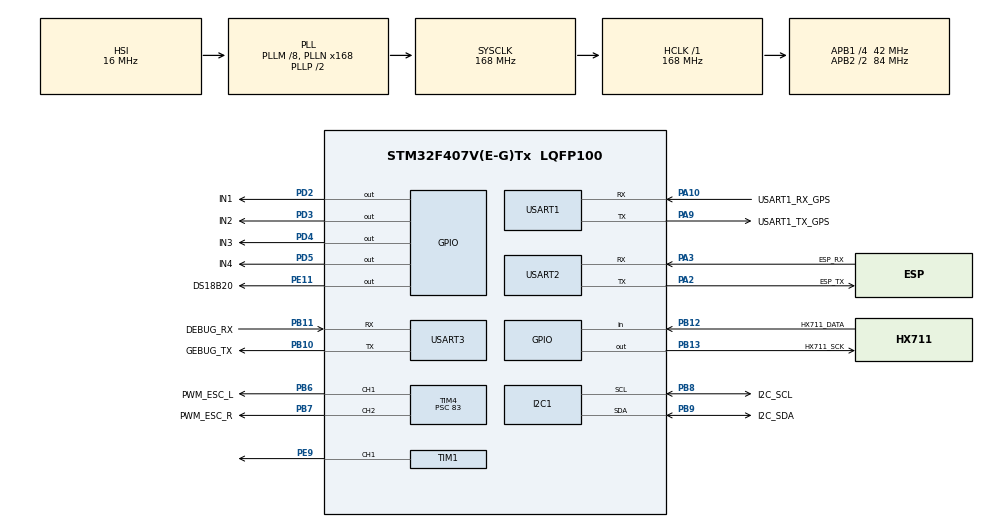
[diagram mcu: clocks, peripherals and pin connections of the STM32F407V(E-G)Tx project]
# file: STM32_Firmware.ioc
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I2C1.I2C_Mode=I2C_Fast
Mcu.Family=STM32F4
Mcu.Name=STM32F407V(E-G)Tx
Mcu.Package=LQFP100
NVIC.PriorityGroup=NVIC_PRIORITYGROUP_4
PA10.GPIO_Label=USART1_RX_GPS
PA10.Mode=Asynchronous
PA10.Signal=USART1_RX
PA13.Mode=Serial_Wire
PA13.Signal=SYS_JTMS-SWDIO
PA14.Mode=Serial_Wire
PA14.Signal=SYS_JTCK-SWCLK
PA2.GPIO_Label=ESP_TX
PA2.Mode=Asynchronous
PA2.Signal=USART2_TX
PA3.GPIO_Label=ESP_RX
PA3.Mode=Asynchronous
PA3.Signal=USART2_RX
PA9.GPIO_Label=USART1_TX_GPS
PA9.Mode=Asynchronous
PA9.Signal=USART1_TX
PB10.GPIO_Label=GEBUG_TX
PB10.Mode=Asynchronous
PB10.Signal=USART3_TX
PB11.GPIO_Label=DEBUG_RX
PB11.Mode=Asynchronous
PB11.Signal=USART3_RX
PB12.GPIO_Label=HX711_DATA
PB12.Signal=GPIO_Input
PB13.GPIO_Label=HX711_SCK
PB13.Signal=GPIO_Output
PB6.GPIO_Label=PWM_ESC_L
PB6.Signal=S_TIM4_CH1
PB7.GPIO_Label=PWM_ESC_R
PB7.Signal=S_TIM4_CH2
PB8.GPIO_Label=I2C_SCL
PB8.Mode=I2C
PB8.Signal=I2C1_SCL
PB9.GPIO_Label=I2C_SDA
PB9.Mode=I2C
PB9.Signal=I2C1_SDA
PD2.GPIO_Label=IN1
PD2.Signal=GPIO_Output
PD3.GPIO_Label=IN2
PD3.Signal=GPIO_Output
PD4.GPIO_Label=IN3
PD4.Signal=GPIO_Output
PD5.GPIO_Label=IN4
PD5.Signal=GPIO_Output
PE11.GPIO_Label=DS18B20
PE11.GPIO_ModeDefaultOutputPP=GPIO_MODE_OUTPUT_OD
PE11.GPIO_PuPd=GPIO_PULLUP
PE11.Signal=GPIO_Output
PE9.Signal=S_TIM1_CH1
PH0-OSC_IN.Mode=HSE-External-Oscillator
PH0-OSC_IN.Signal=RCC_OSC_IN
PH1-OSC_OUT.Mode=HSE-External-Oscillator
PH1-OSC_OUT.Signal=RCC_OSC_OUT
ProjectManager.HeapSize=0x200
ProjectManager.StackSize=0x400
ProjectManager.TargetToolchain=STM32CubeIDE
RCC.48MHZClocksFreq_Value=84000000
RCC.AHBFreq_Value=168000000
RCC.APB1CLKDivider=RCC_HCLK_DIV4
RCC.APB1Freq_Value=42000000
RCC.APB1TimFreq_Value=84000000
RCC.APB2CLKDivider=RCC_HCLK_DIV2
RCC.APB2Freq_Value=84000000
RCC.APB2TimFreq_Value=168000000
RCC.CortexFreq_Value=168000000
RCC.HCLKFreq_Value=168000000
RCC.HSE_VALUE=25000000
RCC.HSI_VALUE=16000000
RCC.LSE_VALUE=32768
RCC.PLLM=8
RCC.PLLN=168
RCC.SYSCLKFreq_VALUE=168000000
RCC.SYSCLKSource=RCC_SYSCLKSOURCE_PLLCLK
RCC.VCOOutputFreq_Value=336000000
SH.S_TIM1_CH1.0=TIM1_CH1,Output Compare1 CH1
SH.S_TIM4_CH1.0=TIM4_CH1,PWM Generation1 CH1
SH.S_TIM4_CH2.0=TIM4_CH2,PWM Generation2 CH2
TIM1.Channel-Output\ Compare1\ CH1=TIM_CHANNEL_1
TIM4.Channel-PWM\ Generation1\ CH1=TIM_CHANNEL_1
TIM4.Channel-PWM\ Generation2\ CH2=TIM_CHANNEL_2
TIM4.Period=19999
TIM4.Prescaler=83
USART1.VirtualMode=VM_ASYNC
USART2.VirtualMode=VM_ASYNC
USART3.VirtualMode=VM_ASYNC
VP_TIM1_VS_ClockSourceINT.Mode=Internal
VP_TIM4_VS_ClockSourceINT.Mode=Internal
board=custom

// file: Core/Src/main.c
/* USER CODE BEGIN Header */
/**
 ******************************************************************************
 * @file           : main.c
 * @brief          : Main program body
 ******************************************************************************
 */
/* USER CODE END Header */
#include "main.h"
#include "gpio.h"
#include "i2c.h"
#include "tim.h"
#include "usart.h"

/* USER CODE BEGIN Includes */
#include "ATGM336H/atgm336.h"
#include "DS18B20/ds18b20.h"
#include "INA219/ina219.h"
#include "MPU6050/mpu6050.h"
#include "QM5883P.h"
#include "esp32_comm.h"
#include "stepper.h"
#include <math.h>
#include <stdio.h>

/* USER CODE END Includes */

/* USER CODE BEGIN PV */
ATGM336H_Data_t gps_data;
uint8_t gps_rx_data;
/* USER CODE END PV */

void SystemClock_Config(void);
/* USER CODE BEGIN PFP */
void MPU6050_SendToUART(MPU6050_Data_t *data);
/* USER CODE END PFP */

int main(void) {

  /* MCU Configuration--------------------------------------------------------*/

  /* Reset of all peripherals, Initializes the Flash interface and the Systick.
   */
  HAL_Init();

  /* Configure the system clock */
  SystemClock_Config();

  /* Initialize all configured peripherals */
  MX_GPIO_Init();
  MX_I2C1_Init();
  MX_TIM1_Init();
  MX_TIM4_Init();
  MX_USART1_UART_Init();
  MX_USART3_UART_Init();
  MX_USART2_UART_Init();
  /* USER CODE BEGIN 2 */
  printf("Starting I2C Sensors...\r\n");

  if (MPU6050_Init() == HAL_OK) {
    printf("MPU6050 Init SUCCESS\r\n");
  } else {
    printf("MPU6050 Init FAILED\r\n");
  }

  if (QMC5883P_Init() == HAL_OK) {
    printf("QMC5883P Init SUCCESS\r\n");
  } else {
    printf("QMC5883P Init FAILED\r\n");
  }

  if (INA219_Init(&hi2c1) == HAL_OK) {
    printf("INA219 Init SUCCESS\r\n");
  } else {
    printf("INA219 Init FAILED\r\n");
  }

  DS18B20_Init();
  DS18B20_Request_Temp();

  extern void MX_Stepper_GPIO_Init(void);
  MX_Stepper_GPIO_Init();

  ATGM336H_Init(&gps_data);
  HAL_UART_Receive_IT(&huart1, &gps_rx_data, 1);
  ESP32Comm_Init(&huart2);

  /* USER CODE END 2 */

  /* Infinite loop */
  /* USER CODE BEGIN WHILE */
  uint32_t last_status_tick = 0;
  uint32_t last_temp_req = 0;
  uint32_t last_ina_req = 0;

  while (1) {
    /* USER CODE END WHILE */

    /* USER CODE BEGIN 3 */
    MPU6050_Data_t imu = {0};
    QMC5883P_Data_t mag = {0};

    MPU6050_ReadRaw(&imu);
    QMC5883P_ReadRaw(&mag);

    float heading = atan2f(mag.My, mag.Mx) * 180.0f / 3.14159265f;
    if (heading < 0.0f) {
      heading += 360.0f;
    }
    g_usv_state.heading = heading;

    if (HAL_GetTick() - last_temp_req >= 750) {
      last_temp_req = HAL_GetTick();
      g_usv_state.water_temp = DS18B20_Read_Temp();
      DS18B20_Request_Temp();
    }

    if (HAL_GetTick() - last_ina_req >= 200) {
      last_ina_req = HAL_GetTick();
      INA219_ReadBusVoltage_V(&hi2c1, &g_usv_state.battery_volt);
      INA219_ReadCurrent_A(&hi2c1, &g_usv_state.current_amp);
    }

    g_usv_state.current_lat = gps_data.latitude;
    g_usv_state.current_lon = gps_data.longitude;
    g_usv_state.speed = gps_data.speed_kph / 3.6f;
    g_usv_state.gps_valid = (gps_data.valid != 0);

    ESP32Comm_Process();

    if (HAL_GetTick() - last_status_tick >= 500) {
      last_status_tick = HAL_GetTick();
      ESP32Comm_SendStatus();
    }

    stepper_update();
  }
  /* USER CODE END 3 */
}

void SystemClock_Config(void) {
  RCC_OscInitTypeDef RCC_OscInitStruct = {0};
  RCC_ClkInitTypeDef RCC_ClkInitStruct = {0};

  /** Configure the main internal regulator output voltage
   */
  __HAL_RCC_PWR_CLK_ENABLE();
  __HAL_PWR_VOLTAGESCALING_CONFIG(PWR_REGULATOR_VOLTAGE_SCALE1);

  /** Initializes the RCC Oscillators according to the specified parameters
   * in the RCC_OscInitTypeDef structure.
   */
  RCC_OscInitStruct.OscillatorType = RCC_OSCILLATORTYPE_HSI;
  RCC_OscInitStruct.HSIState = RCC_HSI_ON;
  RCC_OscInitStruct.HSICalibrationValue = RCC_HSICALIBRATION_DEFAULT;
  RCC_OscInitStruct.PLL.PLLState = RCC_PLL_ON;
  RCC_OscInitStruct.PLL.PLLSource = RCC_PLLSOURCE_HSI;
  RCC_OscInitStruct.PLL.PLLM = 8;
  RCC_OscInitStruct.PLL.PLLN = 168;
  RCC_OscInitStruct.PLL.PLLP = RCC_PLLP_DIV2;
  RCC_OscInitStruct.PLL.PLLQ = 4;
  if (HAL_RCC_OscConfig(&RCC_OscInitStruct) != HAL_OK) {
    Error_Handler();
  }

  /** Initializes the CPU, AHB and APB buses clocks
   */
  RCC_ClkInitStruct.ClockType = RCC_CLOCKTYPE_HCLK | RCC_CLOCKTYPE_SYSCLK |
                                RCC_CLOCKTYPE_PCLK1 | RCC_CLOCKTYPE_PCLK2;
  RCC_ClkInitStruct.SYSCLKSource = RCC_SYSCLKSOURCE_PLLCLK;
  RCC_ClkInitStruct.AHBCLKDivider = RCC_SYSCLK_DIV1;
  RCC_ClkInitStruct.APB1CLKDivider = RCC_HCLK_DIV4;
  RCC_ClkInitStruct.APB2CLKDivider = RCC_HCLK_DIV2;

  if (HAL_RCC_ClockConfig(&RCC_ClkInitStruct, FLASH_LATENCY_5) != HAL_OK) {
    Error_Handler();
  }
}

/* USER CODE BEGIN 4 */
// Hàm in lỗi ra Data Console ở STM32
#ifdef __GNUC__
#define PUTCHAR_PROTOTYPE int __io_putchar(int ch)
#else
#define PUTCHAR_PROTOTYPE int fputc(int ch, FILE *f)
#endif

PUTCHAR_PROTOTYPE {
  ITM_SendChar(ch);
  return ch;
}

void HAL_UART_RxCpltCallback(UART_HandleTypeDef *huart) {
  if (huart->Instance == USART1) {
    ATGM336H_ProcessChar((char)gps_rx_data, &gps_data);
    HAL_UART_Receive_IT(&huart1, &gps_rx_data, 1);
  } else if (huart->Instance == USART2) {
    ESP32Comm_RxCpltCallback(huart);
  }
}
/* USER CODE END 4 */

void Error_Handler(void) {
  __disable_irq();
  while (1) {
  }
}
#ifdef USE_FULL_ASSERT
/**
 * @brief  Reports the name of the source file and the source line number
 *         where the assert_param error has occurred.
 * @param  file: pointer to the source file name
 * @param  line: assert_param error line source number
 * @retval None
 */
void assert_failed(uint8_t *file, uint32_t line) {
  /* USER CODE BEGIN 6 */
  /* User can add his own implementation to report the file name and line
     number, ex: printf("Wrong parameters value: file %s on line %d\r\n", file,
     line) */
  /* USER CODE END 6 */
}
#endif /* USE_FULL_ASSERT */
